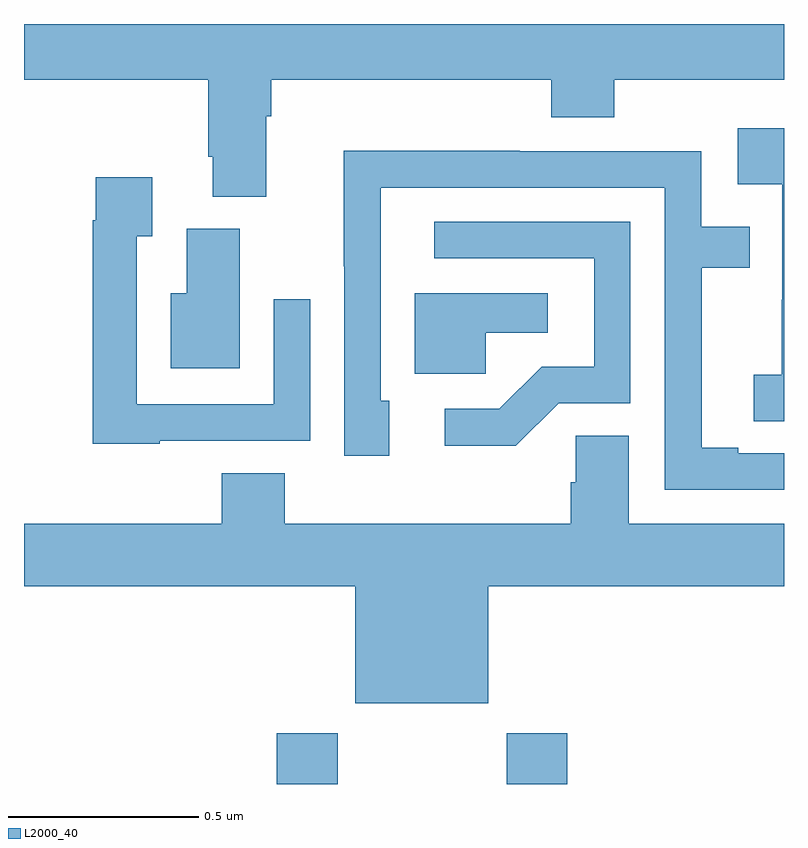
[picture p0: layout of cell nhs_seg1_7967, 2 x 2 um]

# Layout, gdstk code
import gdstk
lib = gdstk.Library(unit=1e-6, precision=1e-09)
def R(c, l, rs):  # rectangles x0, y0, x1, y1
    for r in rs: c.add(gdstk.rectangle(r[:2], r[2:], *l))
def P(c, l, *ps):  # polygons
    for p in ps: c.add(gdstk.Polygon(p, *l))
L2000_40 = (2000, 40)

nhs_seg1_7967 = lib.new_cell('nhs_seg1_7967')
R(nhs_seg1_7967, L2000_40, [(210.665,563.199,210.825,563.332), (211.27,563.199,211.43,563.332)])
P(nhs_seg1_7967, L2000_40, [(210.637,564.956),(210.65,564.956),(210.65,565.052),(211.388,565.052),(211.388,564.953),(211.553,564.953),(211.553,565.052),(212,565.052),(212,565.199),(210,565.199),(210,565.052),(210.485,565.052),(210.485,564.85),(210.497,564.85),(210.497,564.745),(210.637,564.745)],
  [(212,564.925),(211.878,564.925),(211.878,564.777),(211.995,564.777),(211.995,564.473),(211.994,564.473),(211.994,564.276),(211.92,564.276),(211.92,564.154),(212,564.154)],
  [(212,564.069),(211.879,564.069),(211.879,564.084),(211.783,564.084),(211.783,564.558),(211.91,564.558),(211.91,564.666),(211.782,564.666),(211.782,564.864),(211.304,564.864),(211.304,564.866),(210.842,564.866),(210.842,564.562),(210.843,564.562),(210.843,564.063),(210.961,564.063),(210.961,564.207),(210.939,564.207),(210.939,564.768),(211.686,564.768),(211.686,563.973),(212,563.973)],
  [(210.357,564.102),(210.753,564.102),(210.753,564.475),(210.657,564.475),(210.657,564.198),(210.297,564.198),(210.297,564.64),(210.337,564.64),(210.337,564.796),(210.189,564.796),(210.189,564.683),(210.181,564.683),(210.181,564.095),(210.357,564.095)],
  [(211.407,564.201),(211.596,564.201),(211.596,564.678),(211.08,564.678),(211.08,564.582),(211.5,564.582),(211.5,564.297),(211.362,564.297),(211.251,564.186),(211.107,564.186),(211.107,564.089),(211.294,564.089)],
  [(210.568,564.66),(210.428,564.66),(210.428,564.49),(210.386,564.49),(210.386,564.293),(210.568,564.293)],
  [(211.215,564.386),(211.378,564.386),(211.378,564.49),(211.028,564.49),(211.028,564.279),(211.215,564.279)],
  [(210.521,564.017),(210.521,563.884),(210,563.884),(210,563.72),(210.872,563.72),(210.872,563.411),(211.222,563.411),(211.222,563.72),(212,563.72),(212,563.884),(211.591,563.884),(211.591,564.116),(211.452,564.116),(211.452,563.993),(211.439,563.993),(211.439,563.884),(210.686,563.884),(210.686,564.017)])

lib.write_gds('nhs_seg1_7967.gds')
